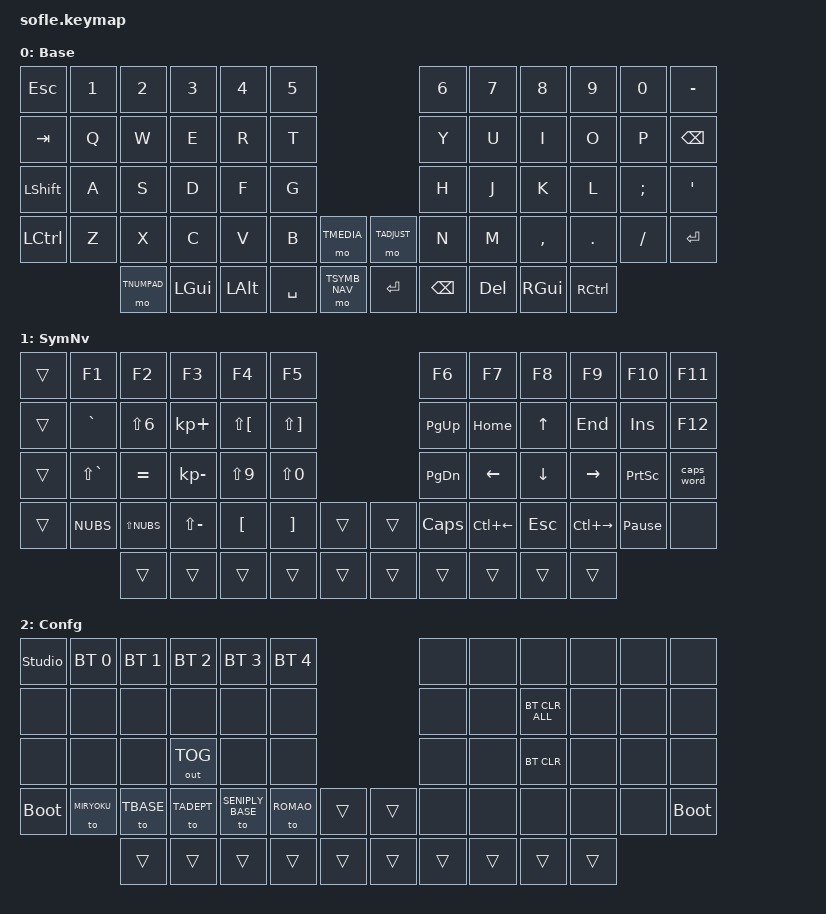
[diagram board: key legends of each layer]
/*
 * Copyright (c) 2020 The ZMK Contributors
 *
 * SPDX-License-Identifier: MIT
 */

#include <behaviors.dtsi>
#include <dt-bindings/zmk/keys.h>
#include <dt-bindings/zmk/bt.h>
#include <dt-bindings/zmk/rgb.h>
#include <dt-bindings/zmk/ext_power.h>
#include <dt-bindings/zmk/pointing.h>
#include <dt-bindings/zmk/outputs.h>

#define HOST_OS 1  //linux
#define ZMK_HELPER_KEEP_NATIVE 1
#include "zmk-helpers/helper.h"

// Source desired key-position labels
#include "zmk-helpers/key-labels/sofle.h"

#define ___ &trans
#define NA &none
#define SENSORS &inc_dec_kp C_VOL_UP C_VOL_DN &inc_dec_kp PG_UP PG_DN

// Enumera as camadas do teclado
#define TBASE 0
#define TADEPT 0 // TODO delete
#define SENIPLY_BASE 0 // TODO delete

#define TSYMB_NAV 1
#define TADJUST 2
#define TMEDIA 0 // TODO delete
#define TNUMPAD 0 // TODO delete
#define TMOUSE 0 // TODO delete

#define MIRYOKU 3
#define ROMAO 13

// ABNT2 keycodes
// Mapeamento de teclas ABNT2 que são usados para o layout brasileiro
// Inspired by https://github.com/qmk/qmk_firmware/blob/master/quantum/keymap_extras/keymap_brazilian_abnt2.h
#define BR_SLSH INT1
#define BR_ACUT LBKT
#define BR_RBKT NUHS
#define BR_RBCT LS(NUHS)
#define BR_LBKT RBKT
#define BR_LBCT LS(RBKT)

// Abaixo, há especificações do comportamento do tap-hold para teclas com duplo comportamento
// Para mais detalhes: https://zmk.dev/docs/keymaps/behaviors/hold-tap

#define TAPPING_TERM 300 // Tempo em milissegundos para diferenciar o tap-hold

// Para teclas com tap-hold em que o hold é um modificador, como CTRL, ALT, etc
&mt {
    tapping-term-ms = <TAPPING_TERM>;
    quick-tap-ms = <TAPPING_TERM>;
    flavor = "balanced"; // Pode ser "balanced", "hold-preferred" ou "tap-preferred"
};

// Para teclas com tap-hold em que o hold é uma mudança de camada, como SYMB_NAV, MEDIA, etc
&lt {
    tapping-term-ms = <TAPPING_TERM>;
    quick-tap-ms = <TAPPING_TERM>;
    flavor = "balanced"; // Pode ser "balanced", "hold-preferred" ou "tap-preferred"
};

&sk {
    quick-release;
};

&caps_word {
    continue-list = <UNDERSCORE MINUS>;
};

// Combos do teclado
/ {
    combos {
        compatible = "zmk,combos";
        combo_dongle_bootloader {
            // Faz o dongle entrar em modo de bootloader, para gravacao do firmware
            timeout-ms = <30>; // Tempo de tolerancia para apertar as teclas ao mesmo tempo
            key-positions = <50 51 58 59>; // 2 primeiras e 2 ultimas teclas da linha de teclas mais abaixo do teclado
            bindings = <&bootloader>; // Tecla a ser simulada ao apertar a combinação acima
        };
        combo_unlock_zmk_studio {
            // Desbloqueia o ZMK Studio
            timeout-ms = <30>; // Tempo de tolerancia para apertar as teclas ao mesmo tempo
            key-positions = <50 59>; // primeira e última teclas da linha de teclas mais abaixo do teclado
            bindings = <&studio_unlock>; // Tecla a ser simulada ao apertar a combinação acima
        };
    };
};

#define KEYS_L LT0 LT1 LT2 LT3 LT4 LM0 LM1 LM2 LM3 LM4 LB0 LB1 LB2 LB3 LB4  // left hand
#define KEYS_R RT0 RT1 RT2 RT3 RT4 RM0 RM1 RM2 RM3 RM4 RB0 RB1 RB2 RB3 RB4  // right hand
#define THUMBS LH1 LH0 RH0 RH1    
ZMK_HOLD_TAP(hml,
    flavor = "balanced";
    tapping-term-ms = <280>;
    require-prior-idle-ms = <100>;
    hold-trigger-key-positions = <KEYS_R THUMBS>;
    hold-trigger-on-release;
    bindings = <&kp>, <&kp>;
)
ZMK_HOLD_TAP(hmr,
    flavor = "balanced";
    tapping-term-ms = <280>;
    require-prior-idle-ms = <100>;
    hold-trigger-key-positions = <KEYS_L THUMBS>;
    hold-trigger-on-release;
    bindings = <&kp>, <&kp>;
)
#define HML(MOD, TAP) &hml MOD TAP
#define HMR(MOD, TAP) &hmr MOD TAP

/ {
    behaviors {
        rot_msc: sensor_rotate_msc {
            compatible = "zmk,behavior-sensor-rotate-var";
	    tap-ms = <20>;
            #sensor-binding-cells = <2>;
            bindings = <&msc>, <&msc>;
        };
    };
};

ZMK_LAYER(Base,
// ╭─────────────┬─────────────┬─────────────┬─────────────┬─────────────┬─────────────╮                                  ╭─────────────┬─────────────┬─────────────┬─────────────┬─────────────┬─────────────╮
    &kp ESC       &kp N1        &kp N2        &kp N3        &kp N4        &kp N5                                           &kp N6        &kp N7        &kp N8        &kp N9        &kp N0        &kp MINUS
// ├─────────────┼─────────────┼─────────────┼─────────────┼─────────────┼─────────────┤                                  ├─────────────┼─────────────┼─────────────┼─────────────┼─────────────┼─────────────┤
    &kp TAB       &kp Q         &kp W         &kp E         &kp R         &kp T                                            &kp Y         &kp U         &kp I         &kp O         &kp P         &kp BSPC
// ├─────────────┼─────────────┼─────────────┼─────────────┼─────────────┼─────────────┤                                  ├─────────────┼─────────────┼─────────────┼─────────────┼─────────────┼─────────────┤
    &kp LSHFT     &kp A         &kp S         &kp D         &kp F         &kp G                                            &kp H         &kp J         &kp K         &kp L         &kp SEMI      &kp SQT
// ├─────────────┼─────────────┼─────────────┼─────────────┼─────────────┼─────────────┤╭─────────────╮    ╭─────────────╮├─────────────┼─────────────┼─────────────┼─────────────┼─────────────┼─────────────┤
    &kp LCTRL     &kp Z         &kp X         &kp C         &kp V         &kp B          &mo TMEDIA           &mo TADJUST    &kp N         &kp M         &kp COMMA     &kp DOT       &kp FSLH      &kp ENTER
// ╰─────────────┼─────────────┼─────────────┼─────────────┼─────────────┼─────────────┤╰─────────────╯    ╰─────────────╯├─────────────┼─────────────┼─────────────┼─────────────┼─────────────┼─────────────╯
                                &mo TNUMPAD    &kp LGUI      &kp LALT      &kp SPACE      &mo TSYMB_NAV         &kp ENTER    &kp BSPC      &kp DEL       &kp RGUI      &kp RCTRL
//                             ╰─────────────┴─────────────┴─────────────┴─────────────┴─────────────╯      ╰─────────────┴─────────────┴─────────────┴─────────────┴─────────────╯
, SENSORS)

ZMK_LAYER(SymNv,
// ╭─────────────┬─────────────┬─────────────┬─────────────┬─────────────┬─────────────╮                                  ╭─────────────┬─────────────┬─────────────┬─────────────┬─────────────┬─────────────╮
    ___           &kp F1        &kp F2        &kp F3        &kp F4        &kp F5                                           &kp F6        &kp F7        &kp F8        &kp F9        &kp F10       &kp F11
// ├─────────────┼─────────────┼─────────────┼─────────────┼─────────────┼─────────────┤                                  ├─────────────┼─────────────┼─────────────┼─────────────┼─────────────┼─────────────┤
    ___           &kp GRAVE     &kp LS(N6)    &kp KP_PLUS   &kp LS(LBKT)  &kp LS(RBKT)                                     &kp PG_UP     &kp HOME      &kp UP        &kp END       &kp INS       &kp F12
// ├─────────────┼─────────────┼─────────────┼─────────────┼─────────────┼─────────────┤                                  ├─────────────┼─────────────┼─────────────┼─────────────┼─────────────┼─────────────┤
    ___           &kp LS(GRAVE) &kp EQUAL     &kp KP_MINUS  &kp LS(N9)    &kp LS(N0)                                       &kp PG_DN     &kp LEFT      &kp DOWN      &kp RIGHT     &kp PSCRN     &caps_word
// ├─────────────┼─────────────┼─────────────┼─────────────┼─────────────┼─────────────┤╭─────────────╮    ╭─────────────╮├─────────────┼─────────────┼─────────────┼─────────────┼─────────────┼─────────────┤
    ___           &kp NUBS      &kp LS(NUBS)  &kp LS(MINUS) &kp LBKT      &kp RBKT        ___                ___           &kp CAPS      &kp LC(LEFT)  &kp ESC       &kp LC(RIGHT) &kp PAUSE_BREAK NA
// ╰─────────────┼─────────────┼─────────────┼─────────────┼─────────────┼─────────────┤╰─────────────╯    ╰─────────────╯├─────────────┼─────────────┼─────────────┼─────────────┼─────────────┼─────────────╯
                                ___           ___           ___           ___             ___                ___           ___           ___           ___           ___
//                             ╰─────────────┴─────────────┴─────────────┴─────────────┴─────────────╯      ╰─────────────┴─────────────┴─────────────┴─────────────┴─────────────╯
, SENSORS)

ZMK_LAYER(Confg,
// ╭─────────────┬─────────────┬─────────────┬─────────────┬─────────────┬─────────────╮                                  ╭─────────────┬─────────────┬─────────────┬─────────────┬─────────────┬─────────────╮
    &studio_unlock &bt BT_SEL 0 &bt BT_SEL 1  &bt BT_SEL 2  &bt BT_SEL 3  &bt BT_SEL 4                                     NA            NA            NA            NA            NA            NA
// ├─────────────┼─────────────┼─────────────┼─────────────┼─────────────┼─────────────┤                                  ├─────────────┼─────────────┼─────────────┼─────────────┼─────────────┼─────────────┤
    NA             NA           NA            NA            NA            NA                                               NA            NA            &bt BT_CLR_ALL NA           NA            NA
// ├─────────────┼─────────────┼─────────────┼─────────────┼─────────────┼─────────────┤                                  ├─────────────┼─────────────┼─────────────┼─────────────┼─────────────┼─────────────┤
    NA             NA           NA            &out OUT_TOG  NA            NA                                               NA            NA            &bt BT_CLR     NA           NA            NA
// ├─────────────┼─────────────┼─────────────┼─────────────┼─────────────┼─────────────┤╭─────────────╮    ╭─────────────╮├─────────────┼─────────────┼─────────────┼─────────────┼─────────────┼─────────────┤
    &bootloader    &to MIRYOKU  &to TBASE      &to TADEPT   &to SENIPLY_BASE &to ROMAO    ___                ___           NA            NA            NA             NA           NA            &bootloader
// ╰─────────────┼─────────────┼─────────────┼─────────────┼─────────────┼─────────────┤╰─────────────╯    ╰─────────────╯├─────────────┼─────────────┼─────────────┼─────────────┼─────────────┼─────────────╯
                                ___           ___           ___           ___            ___                 ___           ___           ___           ___            ___
//                             ╰─────────────┴─────────────┴─────────────┴─────────────┴─────────────╯      ╰─────────────┴─────────────┴─────────────┴─────────────┴─────────────╯
, SENSORS)

#include "miryoku/custom_config.h"
#include "miryoku/mapping/60/sofle.h"
#include "miryoku/miryoku.dtsi"

#define LINUX
#include "romao/mappings/sofle.h"
#include "romao/definitions/includes.h"
#include "romao/definitions/romao_layer_bindings.h"
#include "romao/definitions/romao_layers.dtsi"

#include "combos.dtsi"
